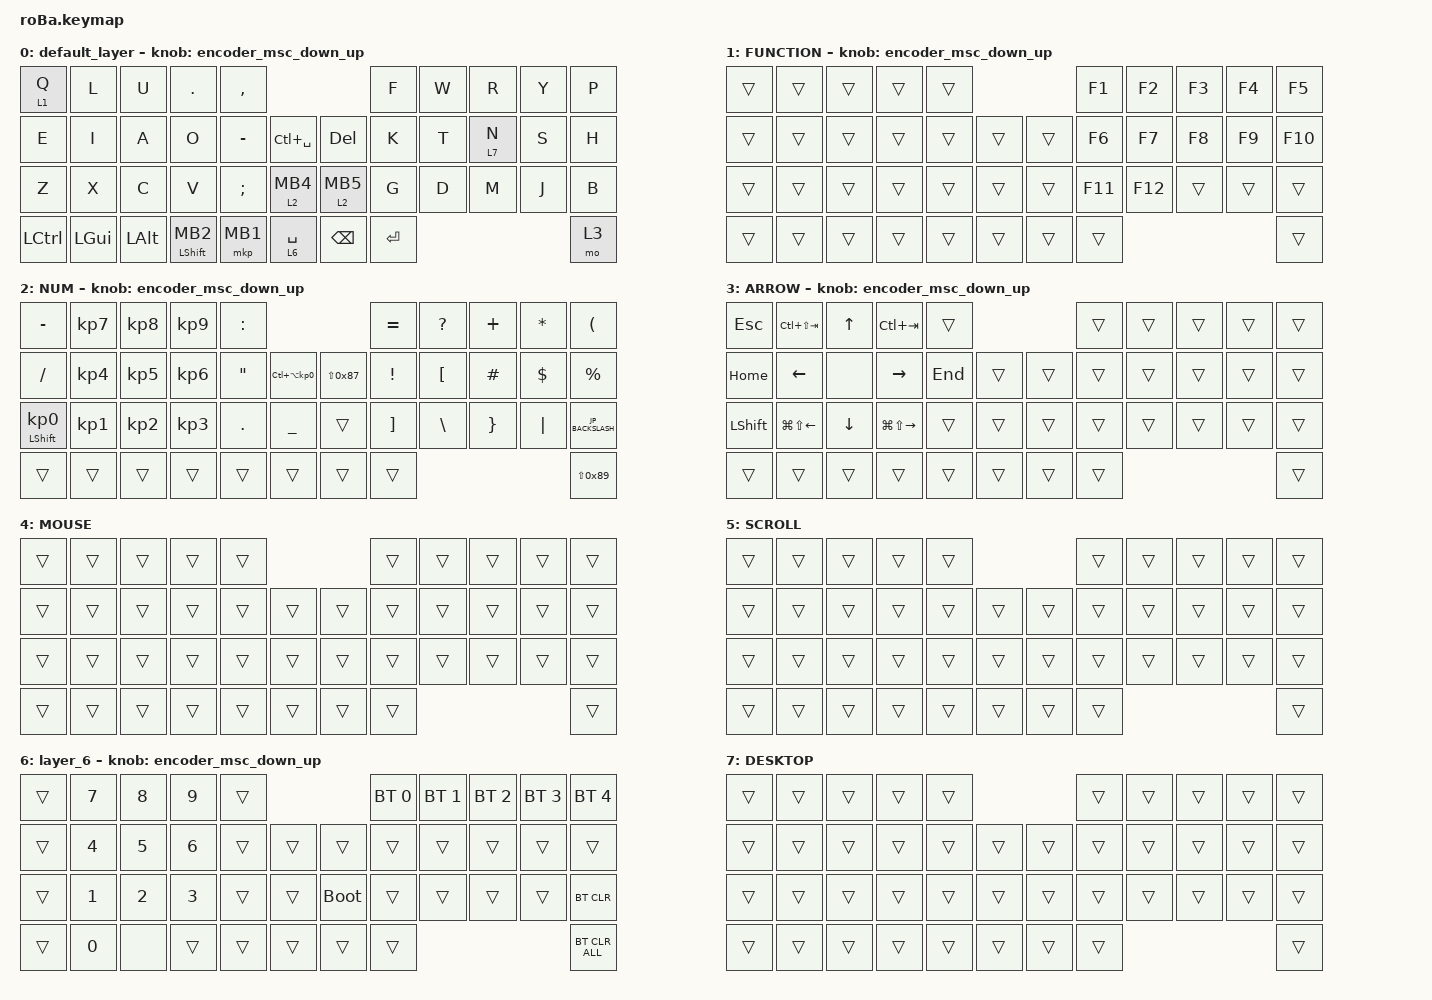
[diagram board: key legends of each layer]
#include <behaviors.dtsi>
#include <dt-bindings/zmk/bt.h>
#include <dt-bindings/zmk/keys.h>
#include <dt-bindings/zmk/pointing.h>

/* Windows JIS layout: symbol conversion */
#define JP_AT          LEFT_BRACKET
#define JP_CARET       EQUAL
#define JP_TILDE       PLUS
#define JP_PLUS        COLON
#define JP_EQUAL       UNDER
#define JP_UNDERSCORE  LS(0x87)
#define JP_LPAREN      ASTERISK
#define JP_RPAREN      LEFT_PARENTHESIS
#define JP_LBRACKET    RIGHT_BRACKET
#define JP_RBRACKET    BACKSLASH
#define JP_LBRACE      RIGHT_BRACE
#define JP_RBRACE      PIPE
#define JP_ASTERISK    DOUBLE_QUOTES
#define JP_DQUOTE      AT_SIGN
#define JP_BACKSLASH   0x89
#define JP_PIPE        LS(0x89)

#define ZMK_POINTING_DEFAULT_SCRL_VAL 80

&mt {
    flavor = "balanced";
    quick-tap-ms = <0>;
};

&trackball {
    scroll-layers = <5>;

    arrows {
        layers = <7>;
        bindings =
            <&kp LC(LG(RIGHT_ARROW))>,
            <&kp LC(LG(LEFT_ARROW))>,
            <&kp LG(TAB)>,
            <&kp LG(D)>;
        tick = <250>;
        wait-ms = <400>;
        tap-ms = <20>;
    };
};

/ {
    combos {
        compatible = "zmk,combos";

        tab {
            bindings = <&kp TAB>;
            key-positions = <11 12>;
        };

        shift_tab {
            bindings = <&kp LS(TAB)>;
            key-positions = <12 13>;
        };

        muhennkann {
            bindings = <&to_layer_0 INT_MUHENKAN>;
            key-positions = <11 10>;
        };

        henkan {
            bindings = <&kp INT_HENKAN>;
            key-positions = <22 23>;
            timeout-ms = <50>;
        };

        double_quotation {
            bindings = <&kp JP_DQUOTE>;
            key-positions = <20 21>;
            timeout-ms = <50>;
        };

        eq {
            bindings = <&kp JP_EQUAL>;
            key-positions = <24 25>;
        };
    };

    macros {
        to_layer_0: to_layer_0 {
            compatible = "zmk,behavior-macro-one-param";
            #binding-cells = <1>;
            bindings = <&to 0 &macro_param_1to1 &kp MACRO_PLACEHOLDER>;
            label = "TO_LAYER_0";
        };
    };

    behaviors {
        lt_to_layer_0: lt_to_layer_0 {
            compatible = "zmk,behavior-hold-tap";
            label = "LAYER_TAP_TO_0";
            bindings = <&mo>, <&to_layer_0>;

            #binding-cells = <2>;
            tapping-term-ms = <200>;
        };

        encoder_msc_down_up: encoder_msc_down_up {
            compatible = "zmk,behavior-sensor-rotate";
            label = "ENCODER_MSC_DOWN_UP";
            #sensor-binding-cells = <0>;
            bindings = <&msc SCRL_DOWN>, <&msc SCRL_UP>;

            tap-ms = <20>;
        };

        kpmkp: kpmkp {
            compatible = "zmk,behavior-hold-tap";
            label = "KPMKP";
            bindings = <&kp>, <&mkp>;

            #binding-cells = <2>;
            tapping-term-ms = <150>;
        };

        momkp: momkp {
            compatible = "zmk,behavior-hold-tap";
            label = "MOMKP";
            bindings = <&mo>, <&mkp>;

            #binding-cells = <2>;
            tapping-term-ms = <150>;
        };
    };

    keymap {
        compatible = "zmk,keymap";

        default_layer {
            bindings = <
&lt 1 Q    &kp L     &kp U     &kp DOT                   &kp COMMA                                    &kp F      &kp W  &kp R    &kp Y  &kp P
&kp E      &kp I     &kp A     &kp O                     &kp MINUS    &kp LC(SPACE)    &kp DEL        &kp K      &kp T  &lt 7 N  &kp S  &kp H
&kp Z      &kp X     &kp C     &kp V                     &kp SEMI     &momkp 2 MB4     &momkp 2 MB5   &kp G      &kp D  &kp M    &kp J  &kp B
&kp LCTRL  &kp LGUI  &kp LALT  &kpmkp LEFT_SHIFT MB2     &mkp MB1     &lt 6 SPACE      &kp BACKSPACE  &kp ENTER                         &mo 3
            >;

            sensor-bindings = <&encoder_msc_down_up>;
        };

        FUNCTION {
            bindings = <
&trans  &trans  &trans  &trans  &trans                      &kp F1   &kp F2   &kp F3  &kp F4  &kp F5
&trans  &trans  &trans  &trans  &trans  &trans      &trans  &kp F6   &kp F7   &kp F8  &kp F9  &kp F10
&trans  &trans  &trans  &trans  &trans  &trans      &trans  &kp F11  &kp F12  &trans  &trans  &trans
&trans  &trans  &trans  &trans  &trans  &trans      &trans  &trans                            &trans
            >;

            sensor-bindings = <&encoder_msc_down_up>;
        };

        NUM {
            bindings = <
&kp MINUS                   &kp KP_NUMBER_7  &kp KP_NUMBER_8  &kp KP_NUMBER_9  &kp JP_PLUS                                                      &kp JP_CARET     &kp QUESTION       &kp JP_TILDE     &kp JP_LPAREN    &kp JP_RPAREN
&kp SLASH                   &kp KP_NUMBER_4  &kp KP_NUMBER_5  &kp KP_NUMBER_6  &kp JP_ASTERISK  &kp LC(LA(KP_NUMBER_0))      &kp JP_UNDERSCORE  &kp EXCLAMATION  &kp JP_AT          &kp HASH         &kp DOLLAR       &kp PERCENT
&mt LEFT_SHIFT KP_NUMBER_0  &kp KP_NUMBER_1  &kp KP_NUMBER_2  &kp KP_NUMBER_3  &kp PERIOD       &kp JP_EQUAL                 &trans             &kp JP_LBRACKET  &kp JP_RBRACKET    &kp JP_LBRACE    &kp JP_RBRACE    &kp JP_BACKSLASH
&trans                      &trans           &trans           &trans           &trans           &trans                       &trans             &trans                                                                &kp JP_PIPE
            >;

            sensor-bindings = <&encoder_msc_down_up>;
        };

        ARROW {
            bindings = <
&kp ESCAPE      &kp LC(LS(TAB))         &kp UP_ARROW    &kp LC(TAB)              &trans                       &trans  &trans  &trans  &trans  &trans
&kp HOME        &kp LEFT_ARROW          &none           &kp RIGHT_ARROW          &kp END  &trans      &trans  &trans  &trans  &trans  &trans  &trans
&kp LEFT_SHIFT  &kp LG(LS(LEFT_ARROW))  &kp DOWN_ARROW  &kp LG(LS(RIGHT_ARROW))  &trans   &trans      &trans  &trans  &trans  &trans  &trans  &trans
&trans          &trans                  &trans          &trans                   &trans   &trans      &trans  &trans                          &trans
            >;

            sensor-bindings = <&encoder_msc_down_up>;
        };

        MOUSE {
            bindings = <
&trans  &trans  &trans  &trans  &trans                      &trans  &trans  &trans  &trans  &trans
&trans  &trans  &trans  &trans  &trans  &trans      &trans  &trans  &trans  &trans  &trans  &trans
&trans  &trans  &trans  &trans  &trans  &trans      &trans  &trans  &trans  &trans  &trans  &trans
&trans  &trans  &trans  &trans  &trans  &trans      &trans  &trans                          &trans
            >;
        };

        SCROLL {
            bindings = <
&trans  &trans  &trans  &trans  &trans                      &trans  &trans  &trans  &trans  &trans
&trans  &trans  &trans  &trans  &trans  &trans      &trans  &trans  &trans  &trans  &trans  &trans
&trans  &trans  &trans  &trans  &trans  &trans      &trans  &trans  &trans  &trans  &trans  &trans
&trans  &trans  &trans  &trans  &trans  &trans      &trans  &trans                          &trans
            >;
        };

        layer_6 {
            bindings = <
&trans  &kp N7        &kp N8        &kp N9        &trans                           &bt BT_SEL 0  &bt BT_SEL 1  &bt BT_SEL 2  &bt BT_SEL 3  &bt BT_SEL 4
&trans  &kp NUMBER_4  &kp N5        &kp N6        &trans  &trans      &trans       &trans        &trans        &trans        &trans        &trans
&trans  &kp NUMBER_1  &kp NUMBER_2  &kp NUMBER_3  &trans  &trans      &bootloader  &trans        &trans        &trans        &trans        &bt BT_CLR
&trans  &kp N0        &none         &trans        &trans  &trans      &trans       &trans                                                  &bt BT_CLR_ALL
            >;

            sensor-bindings = <&encoder_msc_down_up>;
        };

        DESKTOP {
            bindings = <
&trans &trans &trans &trans &trans        &trans &trans &trans &trans &trans
&trans &trans &trans &trans &trans &trans &trans &trans &trans &trans &trans &trans
&trans &trans &trans &trans &trans &trans &trans &trans &trans &trans &trans &trans
&trans &trans &trans &trans &trans &trans &trans &trans &trans
            >;
        };

    };
};
